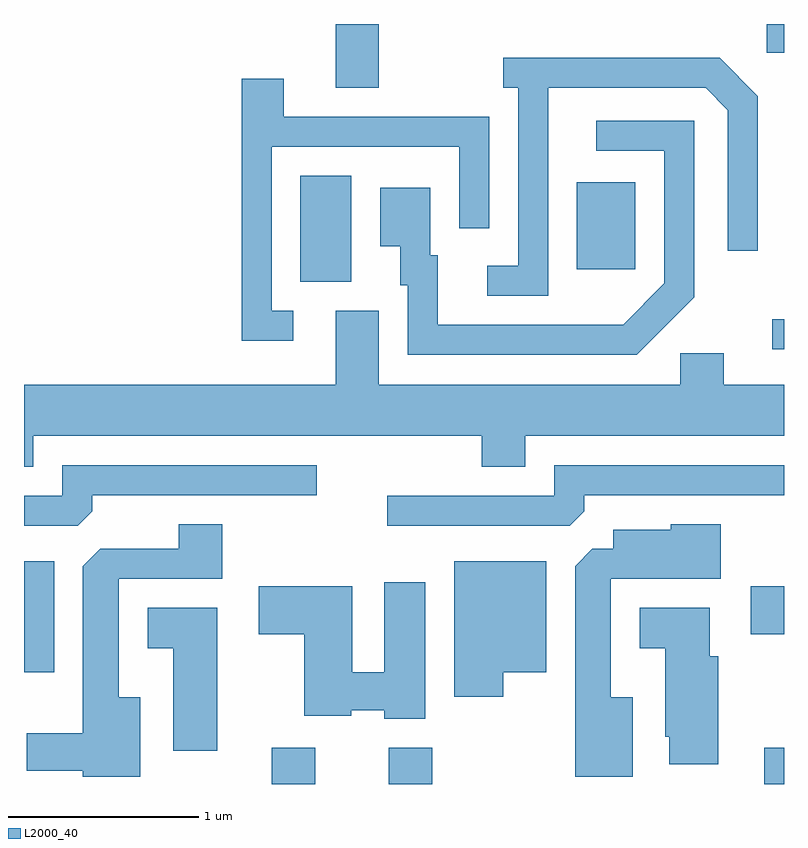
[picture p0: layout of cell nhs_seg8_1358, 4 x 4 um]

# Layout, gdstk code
import gdstk
lib = gdstk.Library(unit=1e-6, precision=1e-09)
def R(c, l, rs):  # rectangles x0, y0, x1, y1
    for r in rs: c.add(gdstk.rectangle(r[:2], r[2:], *l))
def P(c, l, *ps):  # polygons
    for p in ps: c.add(gdstk.Polygon(p, *l))
L2000_40 = (2000, 40)

nhs_seg8_1358 = lib.new_cell('nhs_seg8_1358')
R(nhs_seg8_1358, L2000_40, [(226.916,1852.342,227.144,1852.534), (227.531,1852.342,227.759,1852.534), (229.506,1852.342,229.611,1852.534), (225.611,1852.931,225.769,1853.514), (229.436,1853.131,229.611,1853.384), (229.548,1854.631,229.611,1854.789), (227.066,1854.986,227.334,1855.544), (228.521,1855.051,228.829,1855.509), (227.251,1856.006,227.479,1856.342), (229.521,1856.191,229.611,1856.342)])
P(nhs_seg8_1358, L2000_40, [(228.369,1856.006),(229.199,1856.006),(229.316,1855.889),(229.316,1855.148),(229.474,1855.148),(229.474,1855.962),(229.272,1856.164),(228.133,1856.164),(228.133,1856.006),(228.211,1856.006),(228.211,1855.069),(228.048,1855.069),(228.048,1854.911),(228.369,1854.911)],
  [(227.028,1854.834),(226.914,1854.834),(226.914,1855.696),(227.901,1855.696),(227.901,1855.268),(228.059,1855.268),(228.059,1855.854),(226.979,1855.854),(226.979,1856.054),(226.756,1856.054),(226.756,1854.676),(227.028,1854.676)],
  [(229.139,1854.904),(229.139,1855.834),(228.623,1855.834),(228.623,1855.676),(228.981,1855.676),(228.981,1854.977),(228.764,1854.759),(227.789,1854.759),(227.789,1855.124),(227.749,1855.124),(227.749,1855.479),(227.486,1855.479),(227.486,1855.171),(227.591,1855.171),(227.591,1854.966),(227.631,1854.966),(227.631,1854.601),(228.837,1854.601)],
  [(225.659,1854.176),(228.021,1854.176),(228.021,1854.011),(228.249,1854.011),(228.249,1854.176),(229.611,1854.176),(229.611,1854.444),(229.294,1854.444),(229.294,1854.609),(229.066,1854.609),(229.066,1854.444),(227.479,1854.444),(227.479,1854.834),(227.251,1854.834),(227.251,1854.444),(225.611,1854.444),(225.611,1854.011),(225.659,1854.011)],
  [(228.559,1853.777),(228.559,1853.861),(229.611,1853.861),(229.611,1854.019),(228.401,1854.019),(228.401,1853.859),(227.523,1853.859),(227.523,1853.701),(228.484,1853.701)],
  [(225.969,1853.777),(225.969,1853.861),(227.153,1853.861),(227.153,1854.019),(225.811,1854.019),(225.811,1853.859),(225.611,1853.859),(225.611,1853.701),(225.894,1853.701)],
  [(228.814,1852.799),(228.699,1852.799),(228.699,1853.421),(229.279,1853.421),(229.279,1853.709),(229.016,1853.709),(229.016,1853.679),(228.711,1853.679),(228.711,1853.579),(228.602,1853.579),(228.511,1853.489),(228.511,1852.381),(228.814,1852.381)],
  [(226.224,1852.799),(226.109,1852.799),(226.109,1853.421),(226.654,1853.421),(226.654,1853.709),(226.426,1853.709),(226.426,1853.579),(226.012,1853.579),(225.921,1853.489),(225.921,1852.609),(225.626,1852.609),(225.626,1852.411),(225.921,1852.411),(225.921,1852.381),(226.224,1852.381)],
  [(228.134,1852.931),(228.359,1852.931),(228.359,1853.514),(227.876,1853.514),(227.876,1852.801),(228.134,1852.801)],
  [(227.724,1853.404),(227.506,1853.404),(227.506,1852.929),(227.339,1852.929),(227.339,1853.384),(226.846,1853.384),(226.846,1853.131),(227.086,1853.131),(227.086,1852.701),(227.334,1852.701),(227.334,1852.731),(227.506,1852.731),(227.506,1852.686),(227.724,1852.686)],
  [(226.629,1853.269),(226.261,1853.269),(226.261,1853.056),(226.396,1853.056),(226.396,1852.516),(226.629,1852.516)],
  [(229.264,1853.014),(229.219,1853.014),(229.219,1853.269),(228.851,1853.269),(228.851,1853.056),(228.986,1853.056),(228.986,1852.591),(229.006,1852.591),(229.006,1852.446),(229.264,1852.446)])

lib.write_gds('nhs_seg8_1358.gds')
